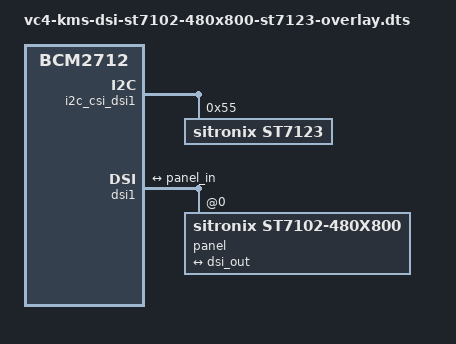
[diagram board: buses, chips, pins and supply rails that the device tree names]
/dts-v1/;
/plugin/;

/ {
	compatible = "raspberrypi,5-model-b", "brcm,bcm2712";

	fragment@0 {
		target = <&i2c_csi_dsi1>;
		__overlay__ {
			#address-cells = <1>;
			#size-cells = <0>;
			status = "okay";

			st7123: touchscreen@55 {
				compatible = "sitronix,st7123";
				reg = <0x55>;
				status = "okay";

				touchscreen-size-x = <480>;
				touchscreen-size-y = <800>;

				/* 可选：有接线时再打开
				interrupt-parent = <&gpio>;
				interrupts = <17 IRQ_TYPE_EDGE_FALLING>;
				reset-gpios = <&gpio 27 GPIO_ACTIVE_LOW>;
				*/
			};
		};
	};

	fragment@1 {
		target = <&dsi1>;
		__overlay__ {
			status = "okay";
			#address-cells = <1>;
			#size-cells = <0>;

			port {
				dsi_out: endpoint {
					remote-endpoint = <&panel_in>;
				};
			};

			panel@0 {
				compatible = "sitronix,st7102-480x800";
				reg = <0>;
				status = "okay";

				/* 如果有 Reset 引脚，取消注释并改写实际 GPIO */
				/* reset-gpios = <&gpio 17 1>; */

				port {
					panel_in: endpoint {
						remote-endpoint = <&dsi_out>;
					};
				};
			};
		};
	};
};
